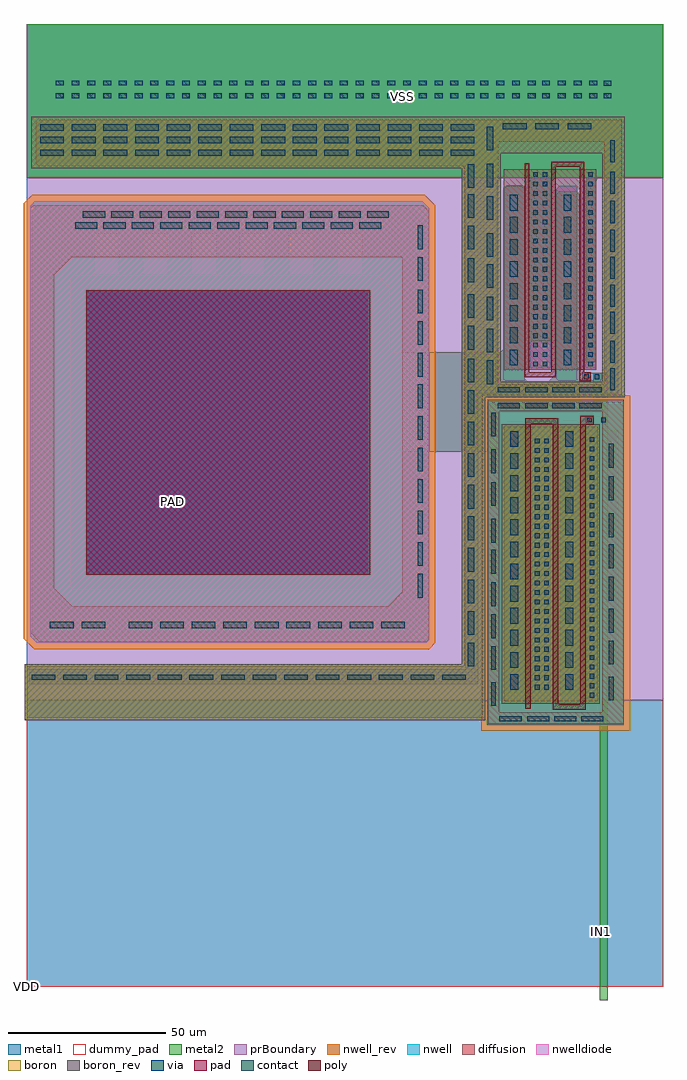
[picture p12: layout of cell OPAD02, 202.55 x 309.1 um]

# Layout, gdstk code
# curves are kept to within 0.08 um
import gdstk
lib = gdstk.Library(unit=1e-6, precision=1e-09)
def R(c, l, rs):  # rectangles x0, y0, x1, y1
    for r in rs: c.add(gdstk.rectangle(r[:2], r[2:], *l))
def A(c, l, x, y, w, h, nx, ny, dx, dy):  # array of equal rectangles
    R(c, l, [(x+i*dx, y+j*dy, x+i*dx+w, y+j*dy+h) for i in range(nx) for j in range(ny)])
def P(c, l, *ps):  # polygons
    for p in ps: c.add(gdstk.Polygon(p, *l))
nwell = (1, 0)
diffusion = (2, 0)
nwell_rev = (3, 0)
poly = (4, 0)
boron = (5, 0)
boron_rev = (6, 0)
contact = (7, 0)
metal1 = (8, 0)
via = (9, 0)
metal2 = (10, 0)
pad = (11, 0)
prBoundary = (28, 0)
nwelldiode = (38, 0)
dummy_pad = (40, 0)

opad02 = lib.new_cell('OPAD02')
R(opad02, nwell, [(145.9,83,189.1,185.25)])
P(opad02, nwell, [(3.15,108.95),(1.05,111.05),(1.05,247.25),(2.6,248.8),(125.25,248.8),(127.45,246.6),(127.45,109.75),(126.65,108.95)])
R(opad02, diffusion, [(151.1,90.4,180.8,177.4), (151,195.45,180.3,258.95)])
P(opad02, diffusion, [(0,85.15),(0,101.45),(138.55,101.45),(138.55,259.85),(3.814,259.85),(2.85,260.814),(2.85,273.45),(4.05,274.65),(144.45,274.65),(144.45,85.15)],
  [(146.05,83.1),(146.05,185.85),(182.3,185.85),(182.3,182.2),(149.6,182.2),(149.6,87),(182.3,87),(182.3,185.85),(189.05,185.85),(189.05,83.1)],
  [(3.95,109.3),(1.05,112.2),(1.05,246.563),(2.037,247.55),(119,247.55),(119,231),(14.214,231),(8.7,225.486),(8.7,126.204),(14.404,120.5),(114.449,120.5),(119,125.051),(119,247.55),(125.563,247.55),(127.35,245.763),(127.35,109.952),(126.698,109.3)],
  [(144.45,187.35),(144.45,274.65),(182.95,274.65),(182.95,267.55),(149.35,267.55),(149.35,190.85),(182.95,190.85),(182.95,274.65),(188.5,274.65),(188.5,187.35)])
R(opad02, nwell_rev, [(143.9,81,191.1,187.25)])
P(opad02, nwell_rev, [(2.322,106.95),(-0.95,110.222),(-0.95,248.078),(1.772,250.8),(126.078,250.8),(129.45,247.428),(129.45,108.922),(127.478,106.95)])
P(opad02, poly, [(166.6,87.65),(166.6,178.1),(159.7,178.1),(159.7,88),(157.9,88),(157.9,180),(168.4,180),(168.4,89.5),(175.3,89.5),(175.3,180.9),(179.6,180.9),(179.6,178),(177.1,178),(177.1,87.65)],
  [(175.1,191.7),(175.1,259.65),(167.6,259.65),(167.6,193.05),(157.7,193.05),(157.7,260.75),(159.2,260.75),(159.2,194.65),(166.1,194.65),(166.1,261.25),(176.6,261.25),(176.6,194.6),(178.7,194.6),(178.7,191.7)])
R(opad02, boron, [(150.4,89.7,181.5,178.15)])
P(opad02, boron, [(-0.7,84.45),(-0.7,102.15),(137.85,102.15),(137.85,259.15),(1.4,259.15),(1.4,275.45),(145.25,275.45),(145.25,84.45)],
  [(145.25,186.65),(145.25,275.45),(182.2,275.45),(182.2,263.95),(150.05,263.95),(150.05,191.6),(182.2,191.6),(182.2,275.45),(189.35,275.45),(189.35,186.65)])
R(opad02, boron_rev, [(150.4,89.7,181.5,178.15)])
P(opad02, boron_rev, [(-0.7,84.45),(-0.7,102.15),(137.85,102.15),(137.85,259.15),(1.4,259.15),(1.4,275.45),(145.25,275.45),(145.25,84.45)],
  [(145.25,186.65),(145.25,275.45),(182.2,275.45),(182.2,263.95),(150.05,263.95),(150.05,191.6),(182.2,191.6),(182.2,275.45),(189.35,275.45),(189.35,186.65)])
A(opad02, contact, 158.55, 84.1, 7, 1.5, 3, 1, 8.55, 0)
A(opad02, contact, 178.3, 91.55, 1.5, 1.5, 1, 28, 0, 3)
A(opad02, contact, 160.9, 94.1, 1.5, 1.5, 1, 27, 0, 3)
A(opad02, contact, 163.9, 94.1, 1.5, 1.5, 1, 27, 0, 3)
A(opad02, contact, 1.55, 97.3, 7.5, 1.5, 14, 1, 10, 0)
A(opad02, contact, 153.1, 101, 2.5, 5, 1, 4, 0, 7)
A(opad02, contact, 170.6, 101, 2.5, 5, 1, 4, 0, 7)
A(opad02, contact, 139.75, 101.45, 2, 7.5, 1, 10, 0, 10)
A(opad02, contact, 32.25, 113.55, 7.5, 2, 9, 1, 10, 0)
A(opad02, contact, 123.85, 123.25, 1.5, 7.5, 1, 10, 0, 10)
A(opad02, contact, 153.1, 136, 2.5, 5, 1, 5, 0, 7)
A(opad02, contact, 170.6, 136, 2.5, 5, 1, 5, 0, 7)
A(opad02, contact, 157.95, 183.25, 7, 1.5, 3, 2, 8.55, 5.1)
A(opad02, contact, 160.4, 196.45, 1.5, 1.5, 1, 5, 0, 3)
A(opad02, contact, 163.4, 196.45, 1.5, 1.5, 1, 3, 0, 3)
A(opad02, contact, 177.8, 196.45, 1.5, 1.5, 1, 3, 0, 6)
A(opad02, contact, 153, 203.8, 2.5, 5, 1, 3, 0, 7)
A(opad02, contact, 170, 203.8, 2.5, 5, 1, 3, 0, 7)
A(opad02, contact, 163.4, 208.45, 1.5, 1.5, 1, 3, 0, 3)
A(opad02, contact, 160.4, 214.45, 1.5, 1.5, 1, 3, 0, 3)
A(opad02, contact, 163.4, 220.45, 1.5, 1.5, 1, 3, 0, 3)
A(opad02, contact, 177.8, 220.45, 1.5, 1.5, 1, 3, 0, 3)
A(opad02, contact, 160.4, 226.45, 1.5, 1.5, 1, 3, 0, 3)
A(opad02, contact, 163.4, 232.45, 1.5, 1.5, 1, 3, 0, 3)
A(opad02, contact, 177.8, 232.45, 1.5, 1.5, 1, 3, 0, 3)
A(opad02, contact, 160.4, 238.45, 1.5, 1.5, 1, 3, 0, 3)
A(opad02, contact, 15.3, 240.05, 7, 2, 11, 1, 9, 0)
A(opad02, contact, 17.8, 243.55, 7, 2, 10, 1, 9, 0)
A(opad02, contact, 163.4, 244.45, 1.5, 1.5, 1, 3, 0, 3)
A(opad02, contact, 177.8, 244.45, 1.5, 1.5, 1, 3, 0, 3)
A(opad02, contact, 160.4, 250.45, 1.5, 1.5, 1, 3, 0, 3)
A(opad02, contact, 4.3, 263.15, 7.5, 2, 14, 3, 10, 4)
A(opad02, contact, 150.8, 271.5, 7.5, 2, 3, 1, 10.25, 0)
R(opad02, contact, [(149.7,84.1,156.7,85.6), (147.05,88.95,148.55,96.45), (184.4,90.7,185.9,98.2), (147.05,100.35,148.55,107.85), (184.4,102.1,185.9,109.6), (147.05,110.4,148.55,117.9), (184.4,112.15,185.9,119.65), (7.35,113.55,14.85,115.55), (17.35,113.55,24.85,115.55), (147.05,120.55,148.55,128.05), (184.4,122.3,185.9,129.8), (147.05,130.85,148.55,138.35), (184.4,132.6,185.9,140.1), (147.05,140.65,148.55,148.15), (184.4,142.4,185.9,149.9), (147.05,152.35,148.55,159.85), (184.4,154.1,185.9,161.6), (147.05,162.65,148.55,170.15), (184.4,164.4,185.9,171.9), (147.05,174.35,148.55,181.85), (177.4,178.7,178.9,180.2), (149.1,183.25,156.1,184.75), (149.1,188.35,156.1,189.85), (184.75,188.9,186.25,195.9), (145.75,190.85,147.75,198.35), (176.5,192.4,178,193.9), (184.75,197.6,186.25,204.6), (145.75,200.9,147.75,208.4), (139.75,201.8,141.75,209.3), (184.75,206.8,186.25,213.8), (145.75,211.05,147.75,218.55), (177.8,211.45,179.3,212.95), (139.75,211.8,141.75,219.3), (177.8,214.45,179.3,215.95), (184.75,215.3,186.25,222.3), (145.75,221.35,147.75,228.85), (139.75,223.15,141.75,230.65), (123.85,223.6,125.35,231.1), (184.75,224.25,186.25,231.25), (145.75,231.15,147.75,238.65), (153,231.8,155.5,236.8), (170,231.8,172.5,236.8), (184.75,232.75,186.25,239.75), (139.75,233.5,141.75,241), (123.85,233.6,125.35,241.1), (153,238.8,155.5,243.8), (170,238.8,172.5,243.8), (184.75,241.85,186.25,248.85), (145.75,242.85,147.75,250.35), (139.75,243.5,141.75,251), (107.8,243.55,114.7,245.55), (184.75,251.15,186.25,258.15), (139.75,253,141.75,260.5), (145.75,253.15,147.75,260.65), (163.4,256.45,164.9,257.95), (177.8,256.45,179.3,257.95), (184.75,261.1,186.25,268.1), (145.75,264.85,147.75,272.35), (134.3,271.15,141.8,273.15)])
R(opad02, metal1, [(0,0,201.6,90.7), (176.9,178.2,183.95,180.7), (175.95,191.9,181.9,194.4), (0,256.2,201.6,304.9)])
P(opad02, metal1, [(141.5,187.75),(141.5,252.2),(137.5,256.2),(0,256.2),(0,304.9),(183.45,304.9),(183.45,256.2),(181.212,256.2),(180.3,255.288),(180.3,195.95),(177.25,195.95),(176.8,196.4),(176.8,255.195),(175.795,256.2),(167.35,256.2),(166,254.85),(166,195.95),(159.45,195.95),(159.45,254.996),(158.246,256.2),(150.005,256.2),(148.95,255.145),(148.95,190.35),(183.45,190.35),(183.45,304.9),(201.6,304.9),(201.6,256.2),(188.55,256.2),(187.35,255),(187.35,187.75)],
  [(0.75,95.85),(0.75,100.5),(138.95,100.5),(138.95,256.2),(0,256.2),(0,304.9),(189,304.9),(189,256.2),(146.452,256.2),(143.05,252.798),(143.05,95.85)],
  [(169.302,93),(168.7,93.602),(168.7,178.349),(169.701,179.35),(174.35,179.35),(174.9,178.8),(174.9,93.4),(174.5,93)],
  [(152.2,93.05),(151.1,94.15),(151.1,178.198),(152.052,179.15),(157.198,179.15),(157.8,178.548),(157.8,94.302),(156.548,93.05)],
  [(0,0),(0,90.7),(146.1,90.7),(146.1,185.4),(183.3,185.4),(183.3,182.75),(149.1,182.75),(149.1,91.651),(150.051,90.7),(158.15,90.7),(159.85,92.4),(159.85,177.249),(160.751,178.15),(165.546,178.15),(166.4,177.296),(166.4,92.377),(168.077,90.7),(175.799,90.7),(176.95,91.851),(176.95,176.2),(180.65,176.2),(180.65,90.7),(182.2,90.7),(182.2,176.3),(187.3,176.3),(187.3,90.7),(201.6,90.7),(201.6,0)],
  [(2.45,110.8),(1.75,111.5),(1.75,245.949),(3.351,247.55),(29.2,247.55),(29.2,238.55),(21.5,238.55),(21.5,225.55),(29.2,225.55),(29.2,247.55),(44.6,247.55),(44.6,238.55),(36.9,238.55),(36.9,225.55),(44.6,225.55),(44.6,247.55),(60,247.55),(60,238.55),(52.3,238.55),(52.3,225.55),(60,225.55),(60,247.55),(75.4,247.55),(75.4,238.55),(67.7,238.55),(67.7,225.55),(75.4,225.55),(75.4,247.55),(90.8,247.55),(90.8,238.55),(83.1,238.55),(83.1,225.55),(90.8,225.55),(90.8,247.55),(106.2,247.55),(106.2,238.55),(98.5,238.55),(98.5,225.55),(106.2,225.55),(106.2,247.55),(121.25,247.55),(127.4,241.4),(127.3,116.387),(121.713,110.8)],
  [(0,0),(0,90.7),(185.65,90.7),(185.65,90.702),(185.652,90.7),(189,90.7),(189,0)],
  [(151.5,191.85),(150.95,192.4),(150.95,252.95),(151.9,253.9),(157.048,253.9),(157.65,253.298),(157.65,191.85)],
  [(168.35,191.85),(167.7,192.5),(167.7,252.6),(168.7,253.6),(173.8,253.6),(174.4,253),(174.4,192.15),(174.1,191.85)])
A(opad02, via, 163.4, 205.45, 1.5, 1.5, 1, 5, 0, 12)
A(opad02, via, 177.8, 205.45, 1.5, 1.5, 1, 5, 0, 12)
A(opad02, via, 160.4, 211.45, 1.5, 1.5, 1, 4, 0, 12)
A(opad02, via, 9.2, 281.45, 2.5, 1.5, 27, 2, 5, 4)
A(opad02, via, 143.7, 281.45, 2.5, 1.5, 4, 2, 5, 4)
A(opad02, via, 163.2, 281.45, 2.5, 1.5, 4, 2, 5, 4)
R(opad02, via, [(153.1,94,155.6,99), (170.6,94,173.1,99), (153.1,129,155.6,134), (170.6,129,173.1,134), (18.8,130.55,108.8,220.55), (153.1,171,155.6,176), (170.6,171,173.1,176), (181.95,178.7,183.45,180.2), (179.9,192.4,181.4,193.9), (153,196.8,155.5,201.8), (170,196.8,172.5,201.8), (177.8,199.45,179.3,200.95), (153,224.8,155.5,229.8), (170,224.8,172.5,229.8), (153,245.8,155.5,250.8), (170,245.8,172.5,250.8), (182.7,281.4,185.2,282.9), (182.7,285.4,185.2,286.9)])
R(opad02, metal2, [(181.45,-4.2,183.95,21.75), (0,256.2,201.6,304.9)])
P(opad02, metal2, [(14.751,125.55),(13.8,126.501),(13.8,224.7),(14.65,225.55),(111.099,225.55),(115.1,221.549),(115.1,127.652),(112.998,125.55)],
  [(177.25,197.85),(177.25,256.2),(166,256.2),(166,204.4),(159.45,204.4),(159.45,256.2),(0,256.2),(0,304.9),(201.6,304.9),(201.6,256.2),(180.1,256.2),(180.1,197.85)],
  [(169.2,92.4),(168.7,92.9),(168.7,175.899),(166.299,178.3),(157.55,178.3),(157.3,178.05),(157.3,93.7),(156.7,93.1),(152.4,93.1),(151.6,93.9),(151.6,168.296),(150.396,169.5),(116.001,169.5),(115.1,168.599),(115.1,167.65),(112.45,167.65),(112.45,203.2),(115.1,203.2),(115.1,202.1),(116.3,200.9),(150,200.9),(150.95,201.85),(150.95,252.299),(152.251,253.6),(156.645,253.6),(157.65,252.595),(157.65,192.605),(158.455,191.8),(165.25,191.8),(167.7,194.25),(167.7,250.849),(168.851,252),(173.94,252),(175.1,250.84),(175.1,93.003),(174.497,92.4)],
  [(181.45,0.05),(181.45,178.2),(179.4,178.2),(179.4,194.4),(183.95,194.4),(183.95,0.05)])
R(opad02, pad, [(18.8,130.55,108.8,220.55)])
R(opad02, prBoundary, [(0,90.7,201.6,256.25)])
P(opad02, nwelldiode, [(3.15,108.95),(1.05,111.05),(1.05,247.25),(2.6,248.8),(125.25,248.8),(127.45,246.6),(127.45,109.75),(126.65,108.95)])
R(opad02, dummy_pad, [(0,0,201.6,304.9)])
opad02.add(gdstk.Label('VSS', (119,281.8), layer=10, texttype=7))
opad02.add(gdstk.Label('PAD', (46.3,153.8), layer=10, texttype=7))
opad02.add(gdstk.Label('IN1', (182,17.5), layer=10, texttype=7))
opad02.add(gdstk.Label('VDD', (0.001,0.001), layer=8, texttype=7))

lib.write_gds('OPAD02.gds')
